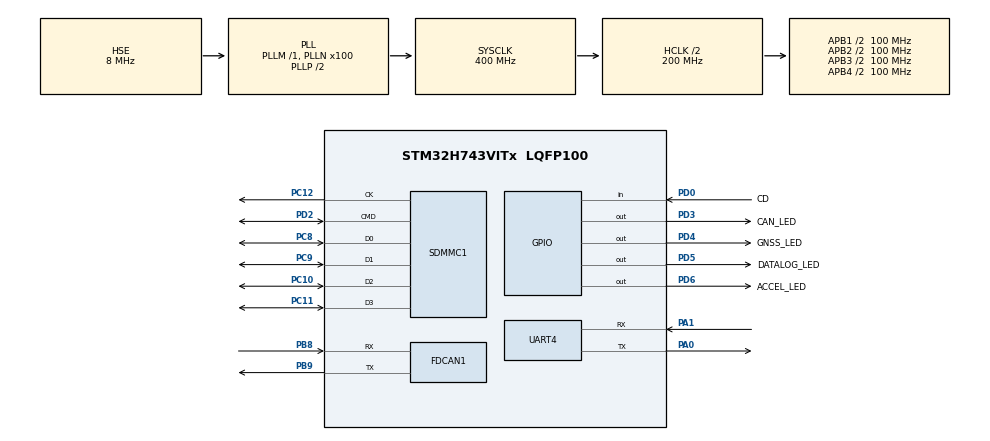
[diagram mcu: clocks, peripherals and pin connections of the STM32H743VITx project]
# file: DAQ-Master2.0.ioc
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FATFS.BSP.number=1
FATFS.USE_DMA_CODE_SD=1
FATFS._MAX_SS=512
FATFS._USE_LFN=1
FATFS0.BSP.STBoard=false
FATFS0.BSP.api=Unknown
FATFS0.BSP.i2caddr=0
FATFS0.BSP.instance=PD0
FATFS0.BSP.ip=GPIO
FATFS0.BSP.mode=Input
FATFS0.BSP.name=Detect_SDIO
FATFS0.BSP.solution=PD0
FDCAN1.DataSyncJumpWidth=2
FDCAN1.DataTimeSeg1=13
FDCAN1.DataTimeSeg2=2
FDCAN1.NominalSyncJumpWidth=2
FDCAN1.NominalTimeSeg1=13
FDCAN1.RxBuffersNbr=32
FDCAN1.RxFifo0ElmtsNbr=32
FDCAN1.RxFifo1ElmtsNbr=32
FDCAN1.TxBuffersNbr=32
FDCAN1.TxEventsNbr=32
FDCAN1.TxFifoQueueElmtsNbr=32
IWDG1.Prescaler=IWDG_PRESCALER_16
IWDG1.Reload=400
Mcu.Family=STM32H7
Mcu.Name=STM32H743VITx
Mcu.Package=LQFP100
Mcu.UserConstants=_DLC_,8
NVIC.FDCAN1_IT0_IRQn=true\:0\:0\:false\:false\:true\:true\:true\:true
NVIC.FDCAN1_IT1_IRQn=true\:0\:0\:false\:false\:true\:true\:true\:true
NVIC.PriorityGroup=NVIC_PRIORITYGROUP_4
NVIC.SDMMC1_IRQn=true\:0\:0\:false\:false\:true\:true\:true\:true
PA0.Mode=Asynchronous
PA0.PinAttribute=Free
PA0.Signal=UART4_TX
PA1.Mode=Asynchronous
PA1.PinAttribute=Free
PA1.Signal=UART4_RX
PB10.Signal=I2C2_SCL
PB11.Signal=I2C2_SDA
PB8.Mode=FDCAN_Activate
PB8.PinAttribute=Free
PB8.Signal=FDCAN1_RX
PB9.Mode=FDCAN_Activate
PB9.PinAttribute=Free
PB9.Signal=FDCAN1_TX
PC10.GPIO_PuPd=GPIO_PULLUP
PC10.Mode=SD_4_bits_Wide_bus
PC10.Signal=SDMMC1_D2
PC11.GPIO_PuPd=GPIO_PULLUP
PC11.Mode=SD_4_bits_Wide_bus
PC11.Signal=SDMMC1_D3
PC12.Mode=SD_4_bits_Wide_bus
PC12.Signal=SDMMC1_CK
PC8.GPIO_PuPd=GPIO_PULLUP
PC8.Mode=SD_4_bits_Wide_bus
PC8.Signal=SDMMC1_D0
PC9.GPIO_PuPd=GPIO_PULLUP
PC9.Mode=SD_4_bits_Wide_bus
PC9.Signal=SDMMC1_D1
PD0.GPIO_Label=CD
PD0.Signal=GPIO_Input
PD2.GPIO_PuPd=GPIO_PULLUP
PD2.Mode=SD_4_bits_Wide_bus
PD2.Signal=SDMMC1_CMD
PD3.GPIO_Label=CAN_LED
PD3.PinState=GPIO_PIN_SET
PD3.Signal=GPIO_Output
PD4.GPIO_Label=GNSS_LED
PD4.PinState=GPIO_PIN_SET
PD4.Signal=GPIO_Output
PD5.GPIO_Label=DATALOG_LED
PD5.PinState=GPIO_PIN_SET
PD5.Signal=GPIO_Output
PD6.GPIO_Label=ACCEL_LED
PD6.PinState=GPIO_PIN_SET
PD6.Signal=GPIO_Output
PH0-OSC_IN\ (PH0).Mode=HSE-External-Oscillator
PH0-OSC_IN\ (PH0).Signal=RCC_OSC_IN
PH1-OSC_OUT\ (PH1).Mode=HSE-External-Oscillator
PH1-OSC_OUT\ (PH1).PinAttribute=Free
PH1-OSC_OUT\ (PH1).Signal=RCC_OSC_OUT
ProjectManager.HeapSize=0x400
ProjectManager.StackSize=0x800
ProjectManager.TargetToolchain=STM32CubeIDE
RCC.ADCCLockSelection=RCC_ADCCLKSOURCE_PLL2
RCC.ADCFreq_Value=80000000
RCC.APB1Freq_Value=100000000
RCC.APB2Freq_Value=100000000
RCC.APB3Freq_Value=100000000
RCC.APB4Freq_Value=100000000
RCC.CECCLockSelection=RCC_CECCLKSOURCE_LSI
RCC.CKPERSourceSelection=RCC_CLKPSOURCE_HSI
RCC.CSI_VALUE=4000000
RCC.CortexFreq_Value=400000000
RCC.Cortex_Div=SYSTICK_CLKSOURCE_HCLK
RCC.Cortex_DivARG=SystemCoreClock/1000
RCC.D1CPRE=RCC_SYSCLK_DIV1
RCC.D1PPRE=RCC_APB3_DIV2
RCC.D2PPRE1=RCC_APB1_DIV2
RCC.D2PPRE2=RCC_APB2_DIV2
RCC.D3PPRE=RCC_APB4_DIV2
RCC.DFSDMCLockSelection=RCC_DFSDM1CLKSOURCE_D2PCLK1
RCC.DIVM1=1
RCC.DIVM2=1
RCC.DIVM3=32
RCC.DIVN1=100
RCC.DIVN2=20
RCC.DIVN3=129
RCC.DIVP1=2
RCC.DIVP2=2
RCC.DIVP3=2
RCC.DIVQ1=4
RCC.DIVQ2=4
RCC.DIVQ3=2
RCC.DIVR1=2
RCC.DIVR2=2
RCC.DIVR3=2
RCC.DSICLockSelection=RCC_DSICLKSOURCE_PHY
RCC.DSIPHY_Div=8
RCC.DSITX_Div=4
RCC.DSI_PHY_VALUE=12288000
RCC.EXTERNAL_CLOCK_VALUE=12288000
RCC.FDCANCLockSelection=RCC_FDCANCLKSOURCE_HSE
RCC.FMCCLockSelection=RCC_FMCCLKSOURCE_D1HCLK
RCC.HCLKFreq_Value=200000000
RCC.HPRE=RCC_HCLK_DIV2
RCC.HSE_VALUE=8000000
RCC.HSIDiv=RCC_PLLSAIDIVR_1
RCC.HSI_VALUE=64000000
RCC.I2C123CLockSelection=RCC_I2C123CLKSOURCE_D2PCLK1
RCC.I2C4CLockSelection=RCC_I2C4CLKSOURCE_D3PCLK1
RCC.LPTIM1CLockSelection=RCC_LPTIM1CLKSOURCE_D2PCLK1
RCC.LPTIM2CLockSelection=RCC_LPTIM2CLKSOURCE_D3PCLK1
RCC.LPTIM345CLockSelection=RCC_LPTIM345CLKSOURCE_D3PCLK1
RCC.LPUART1CLockSelection=RCC_LPUART1CLKSOURCE_D3PCLK1
RCC.LSE_VALUE=32768
RCC.PLL1_VCI_Range-AdvancedSettings=RCC_PLL1VCIRANGE_0
RCC.PLL1_VCO_SEL-AdvancedSettings=RCC_PLL1VCOWIDE
RCC.PLL2FRACN=0
RCC.PLL2_VCI_Range-AdvancedSettings=RCC_PLL2VCIRANGE_3
RCC.PLL2_VCO_SEL-AdvancedSettings=RCC_PLL2VCOMEDIUM
RCC.PLL3_VCO_SEL-AdvancedSettings=RCC_PLL3VCOWIDE
RCC.PLLDSIDev=2
RCC.PLLDSIIDF=DSI_PLL_IN_DIV1
RCC.PLLDSIMult=2
RCC.PLLDSINDIV=20
RCC.PLLDSIODF=DSI_PLL_OUT_DIV1
RCC.PLLFRACN=0
RCC.PLLSourceVirtual=RCC_PLLSOURCE_HSE
RCC.QSPICLockSelection=RCC_QSPICLKSOURCE_D1HCLK
RCC.RC48_VALUE=48000000
RCC.RCC_MCO1Source=RCC_MCO1SOURCE_HSI
RCC.RCC_MCO2Source=RCC_MCO2SOURCE_SYSCLK
RCC.RCC_MCODiv1=RCC_MCODIV_1
RCC.RCC_MCODiv2=RCC_MCODIV_1
RCC.RCC_RTC_Clock_Source_FROM_HSE=RCC_RTCCLKSOURCE_HSE_DIV2
RCC.RNGCLockSelection=RCC_RNGCLKSOURCE_HSI48
RCC.SAI1CLockSelection=RCC_SAI1CLKSOURCE_PLL
RCC.SAI23CLockSelection=RCC_SAI23CLKSOURCE_PLL
RCC.SAI4ACLockSelection=RCC_SAI4ACLKSOURCE_PLL
RCC.SAI4BCLockSelection=RCC_SAI4BCLKSOURCE_PLL
RCC.SPDIFCLockSelection=RCC_SPDIFRXCLKSOURCE_PLL
RCC.SPI123CLockSelection=RCC_SPI123CLKSOURCE_PLL
RCC.SPI6CLockSelection=RCC_SPI6CLKSOURCE_D3PCLK1
RCC.SWPCLockSelection=RCC_SWPMI1CLKSOURCE_D2PCLK1
RCC.SYSCLKFreq_VALUE=400000000
RCC.SYSCLKSource=RCC_SYSCLKSOURCE_PLLCLK
RCC.Spi45ClockSelection=RCC_SPI45CLKSOURCE_D2PCLK1
RCC.USART16CLockSelection=RCC_USART16CLKSOURCE_D2PCLK2
RCC.USART234578CLockSelection=RCC_USART234578CLKSOURCE_D2PCLK1
RCC.USBCLockSelection=RCC_USBCLKSOURCE_PLL
RCC.USBFreq_Value=200000000
SDMMC1.ClockDiv=4
VP_FATFS_VS_SDIO.Mode=SDIO
VP_IWDG1_VS_IWDG.Mode=IWDG_Activate
board=custom

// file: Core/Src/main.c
/* USER CODE BEGIN Header */
/**
  ******************************************************************************
  * @file           : main.c
  * @brief          : Main program body
  ******************************************************************************
  * @attention
  *
  * <h2><center>&copy; Copyright (c) 2021 STMicroelectronics.
  * All rights reserved.</center></h2>
  *
  * This software component is licensed by ST under BSD 3-Clause license,
  * the "License"; You may not use this file except in compliance with the
  * License. You may obtain a copy of the License at:
  *                        opensource.org/licenses/BSD-3-Clause
  *
  ******************************************************************************
  */
/* USER CODE END Header */
#include "main.h"
#include "fatfs.h"

/* USER CODE BEGIN Includes */

#include <stdarg.h>
#include "general_can.h"
#include "initializers.h"
#include "SD.h"
#include "can_log.h"
/* USER CODE END Includes */

FDCAN_HandleTypeDef hfdcan1;

IWDG_HandleTypeDef hiwdg1;

SD_HandleTypeDef hsd1;

UART_HandleTypeDef huart4;

/* USER CODE BEGIN PV */
extern uint8_t _accel_ok, _datalog_flag;
uint8_t ubKeyNumber = 0x0;
//FDCAN_HandleTypeDef hfdcan1;
//FDCAN_RxHeaderTypeDef RxHeader;
//uint8_t RxData[8];
//FDCAN_TxHeaderTypeDef TxHeader;
uint8_t TxData[8];
UART_HandleTypeDef huart4;
/* USER CODE END PV */

void SystemClock_Config(void);
static void MX_GPIO_Init(void);
static void MX_FDCAN1_Init(void);
static void MX_UART4_Init(void);
static void MX_SDMMC1_SD_Init(void);
static void MX_IWDG1_Init(void);

int main(void)
{

  /* MCU Configuration--------------------------------------------------------*/

  /* Reset of all peripherals, Initializes the Flash interface and the Systick. */
  HAL_Init();

  /* Configure the system clock */
  SystemClock_Config();

  /* Initialize all configured peripherals */
  MX_GPIO_Init();
  MX_FDCAN1_Init();
  MX_UART4_Init();
  MX_SDMMC1_SD_Init();
  MX_FATFS_Init();
  MX_IWDG1_Init();
  /* USER CODE BEGIN 2 */
  init_CAN();

  SD_Placa_Inicializada();

  //SD_Create_File();
  //Cabecalho();
  Clean_CAN_Struct();

  HAL_IWDG_Refresh(&hiwdg1);

  //uint16_t vet_tx[4]={0,0,0,0};
  //uint16_t id = 0;

  /* Infinite loop */
  /* USER CODE BEGIN WHILE */
  /* USER CODE END 2 */

  /* Infinite loop */
  /* USER CODE BEGIN WHILE */
  /* USER CODE END 2 */

  /* Infinite loop */
  /* USER CODE BEGIN WHILE */
  /* USER CODE END 2 */

  while (1)
  {
    /* USER CODE END WHILE */

    /* USER CODE BEGIN 3 */
	  HAL_IWDG_Refresh(&hiwdg1);
    //Condicoes_Teste();
	  writeSD();
	  //SD_Placa_Inicializada();
	  HAL_Delay(100);

  }
  /* USER CODE END 3 */
}

void SystemClock_Config(void)
{
  RCC_OscInitTypeDef RCC_OscInitStruct = {0};
  RCC_ClkInitTypeDef RCC_ClkInitStruct = {0};

  /** Supply configuration update enable
  */
  HAL_PWREx_ConfigSupply(PWR_LDO_SUPPLY);

  /** Configure the main internal regulator output voltage
  */
  __HAL_PWR_VOLTAGESCALING_CONFIG(PWR_REGULATOR_VOLTAGE_SCALE1);

  while(!__HAL_PWR_GET_FLAG(PWR_FLAG_VOSRDY)) {}

  /** Initializes the RCC Oscillators according to the specified parameters
  * in the RCC_OscInitTypeDef structure.
  */
  RCC_OscInitStruct.OscillatorType = RCC_OSCILLATORTYPE_LSI|RCC_OSCILLATORTYPE_HSE;
  RCC_OscInitStruct.HSEState = RCC_HSE_ON;
  RCC_OscInitStruct.LSIState = RCC_LSI_ON;
  RCC_OscInitStruct.PLL.PLLState = RCC_PLL_ON;
  RCC_OscInitStruct.PLL.PLLSource = RCC_PLLSOURCE_HSE;
  RCC_OscInitStruct.PLL.PLLM = 1;
  RCC_OscInitStruct.PLL.PLLN = 100;
  RCC_OscInitStruct.PLL.PLLP = 2;
  RCC_OscInitStruct.PLL.PLLQ = 4;
  RCC_OscInitStruct.PLL.PLLR = 2;
  RCC_OscInitStruct.PLL.PLLRGE = RCC_PLL1VCIRANGE_3;
  RCC_OscInitStruct.PLL.PLLVCOSEL = RCC_PLL1VCOWIDE;
  RCC_OscInitStruct.PLL.PLLFRACN = 0;
  if (HAL_RCC_OscConfig(&RCC_OscInitStruct) != HAL_OK)
  {
    Error_Handler();
  }

  /** Initializes the CPU, AHB and APB buses clocks
  */
  RCC_ClkInitStruct.ClockType = RCC_CLOCKTYPE_HCLK|RCC_CLOCKTYPE_SYSCLK
                              |RCC_CLOCKTYPE_PCLK1|RCC_CLOCKTYPE_PCLK2
                              |RCC_CLOCKTYPE_D3PCLK1|RCC_CLOCKTYPE_D1PCLK1;
  RCC_ClkInitStruct.SYSCLKSource = RCC_SYSCLKSOURCE_PLLCLK;
  RCC_ClkInitStruct.SYSCLKDivider = RCC_SYSCLK_DIV1;
  RCC_ClkInitStruct.AHBCLKDivider = RCC_HCLK_DIV2;
  RCC_ClkInitStruct.APB3CLKDivider = RCC_APB3_DIV2;
  RCC_ClkInitStruct.APB1CLKDivider = RCC_APB1_DIV2;
  RCC_ClkInitStruct.APB2CLKDivider = RCC_APB2_DIV2;
  RCC_ClkInitStruct.APB4CLKDivider = RCC_APB4_DIV2;

  if (HAL_RCC_ClockConfig(&RCC_ClkInitStruct, FLASH_LATENCY_2) != HAL_OK)
  {
    Error_Handler();
  }
}

static void MX_FDCAN1_Init(void)
{

  hfdcan1.Instance = FDCAN1;
  hfdcan1.Init.FrameFormat = FDCAN_FRAME_CLASSIC;
  hfdcan1.Init.Mode = FDCAN_MODE_NORMAL;
  hfdcan1.Init.AutoRetransmission = DISABLE;
  hfdcan1.Init.TransmitPause = DISABLE;
  hfdcan1.Init.ProtocolException = DISABLE;
  hfdcan1.Init.NominalPrescaler = 1;
  hfdcan1.Init.NominalSyncJumpWidth = 2;
  hfdcan1.Init.NominalTimeSeg1 = 13;
  hfdcan1.Init.NominalTimeSeg2 = 2;
  hfdcan1.Init.DataPrescaler = 1;
  hfdcan1.Init.DataSyncJumpWidth = 2;
  hfdcan1.Init.DataTimeSeg1 = 13;
  hfdcan1.Init.DataTimeSeg2 = 2;
  hfdcan1.Init.MessageRAMOffset = 0;
  hfdcan1.Init.StdFiltersNbr = 0;
  hfdcan1.Init.ExtFiltersNbr = 0;
  hfdcan1.Init.RxFifo0ElmtsNbr = 32;
  hfdcan1.Init.RxFifo0ElmtSize = FDCAN_DATA_BYTES_8;
  hfdcan1.Init.RxFifo1ElmtsNbr = 32;
  hfdcan1.Init.RxFifo1ElmtSize = FDCAN_DATA_BYTES_8;
  hfdcan1.Init.RxBuffersNbr = 32;
  hfdcan1.Init.RxBufferSize = FDCAN_DATA_BYTES_8;
  hfdcan1.Init.TxEventsNbr = 32;
  hfdcan1.Init.TxBuffersNbr = 32;
  hfdcan1.Init.TxFifoQueueElmtsNbr = 32;
  hfdcan1.Init.TxFifoQueueMode = FDCAN_TX_FIFO_OPERATION;
  hfdcan1.Init.TxElmtSize = FDCAN_DATA_BYTES_8;
  if (HAL_FDCAN_Init(&hfdcan1) != HAL_OK)
  {
    Error_Handler();
  }

}

static void MX_IWDG1_Init(void)
{

  hiwdg1.Instance = IWDG1;
  hiwdg1.Init.Prescaler = IWDG_PRESCALER_16;
  hiwdg1.Init.Window = 4095;
  hiwdg1.Init.Reload = 400;
  if (HAL_IWDG_Init(&hiwdg1) != HAL_OK)
  {
    Error_Handler();
  }

}

static void MX_SDMMC1_SD_Init(void)
{

  hsd1.Instance = SDMMC1;
  hsd1.Init.ClockEdge = SDMMC_CLOCK_EDGE_RISING;
  hsd1.Init.ClockPowerSave = SDMMC_CLOCK_POWER_SAVE_DISABLE;
  hsd1.Init.BusWide = SDMMC_BUS_WIDE_4B;
  hsd1.Init.HardwareFlowControl = SDMMC_HARDWARE_FLOW_CONTROL_DISABLE;
  hsd1.Init.ClockDiv = 4;

}

static void MX_UART4_Init(void)
{

  huart4.Instance = UART4;
  huart4.Init.BaudRate = 115200;
  huart4.Init.WordLength = UART_WORDLENGTH_8B;
  huart4.Init.StopBits = UART_STOPBITS_1;
  huart4.Init.Parity = UART_PARITY_NONE;
  huart4.Init.Mode = UART_MODE_TX_RX;
  huart4.Init.HwFlowCtl = UART_HWCONTROL_NONE;
  huart4.Init.OverSampling = UART_OVERSAMPLING_16;
  huart4.Init.OneBitSampling = UART_ONE_BIT_SAMPLE_DISABLE;
  huart4.Init.ClockPrescaler = UART_PRESCALER_DIV1;
  huart4.AdvancedInit.AdvFeatureInit = UART_ADVFEATURE_NO_INIT;
  if (HAL_UART_Init(&huart4) != HAL_OK)
  {
    Error_Handler();
  }
  if (HAL_UARTEx_SetTxFifoThreshold(&huart4, UART_TXFIFO_THRESHOLD_1_8) != HAL_OK)
  {
    Error_Handler();
  }
  if (HAL_UARTEx_SetRxFifoThreshold(&huart4, UART_RXFIFO_THRESHOLD_1_8) != HAL_OK)
  {
    Error_Handler();
  }
  if (HAL_UARTEx_DisableFifoMode(&huart4) != HAL_OK)
  {
    Error_Handler();
  }

}

static void MX_GPIO_Init(void)
{
  GPIO_InitTypeDef GPIO_InitStruct = {0};

  /* GPIO Ports Clock Enable */
  __HAL_RCC_GPIOH_CLK_ENABLE();
  __HAL_RCC_GPIOA_CLK_ENABLE();
  __HAL_RCC_GPIOB_CLK_ENABLE();
  __HAL_RCC_GPIOC_CLK_ENABLE();
  __HAL_RCC_GPIOD_CLK_ENABLE();

  /*Configure GPIO pin Output Level */
  HAL_GPIO_WritePin(GPIOD, CAN_LED_Pin|GNSS_LED_Pin|DATALOG_LED_Pin|ACCEL_LED_Pin, GPIO_PIN_SET);

  /*Configure GPIO pins : PB10 PB11 */
  GPIO_InitStruct.Pin = GPIO_PIN_10|GPIO_PIN_11;
  GPIO_InitStruct.Mode = GPIO_MODE_AF_OD;
  GPIO_InitStruct.Pull = GPIO_NOPULL;
  GPIO_InitStruct.Speed = GPIO_SPEED_FREQ_LOW;
  GPIO_InitStruct.Alternate = GPIO_AF4_I2C2;
  HAL_GPIO_Init(GPIOB, &GPIO_InitStruct);

  /*Configure GPIO pin : CD_Pin */
  GPIO_InitStruct.Pin = CD_Pin;
  GPIO_InitStruct.Mode = GPIO_MODE_INPUT;
  GPIO_InitStruct.Pull = GPIO_NOPULL;
  HAL_GPIO_Init(CD_GPIO_Port, &GPIO_InitStruct);

  /*Configure GPIO pins : CAN_LED_Pin GNSS_LED_Pin DATALOG_LED_Pin ACCEL_LED_Pin */
  GPIO_InitStruct.Pin = CAN_LED_Pin|GNSS_LED_Pin|DATALOG_LED_Pin|ACCEL_LED_Pin;
  GPIO_InitStruct.Mode = GPIO_MODE_OUTPUT_PP;
  GPIO_InitStruct.Pull = GPIO_NOPULL;
  GPIO_InitStruct.Speed = GPIO_SPEED_FREQ_LOW;
  HAL_GPIO_Init(GPIOD, &GPIO_InitStruct);

}

void Error_Handler(void)
{
  __disable_irq();
  while (1)
  {
  }
}
